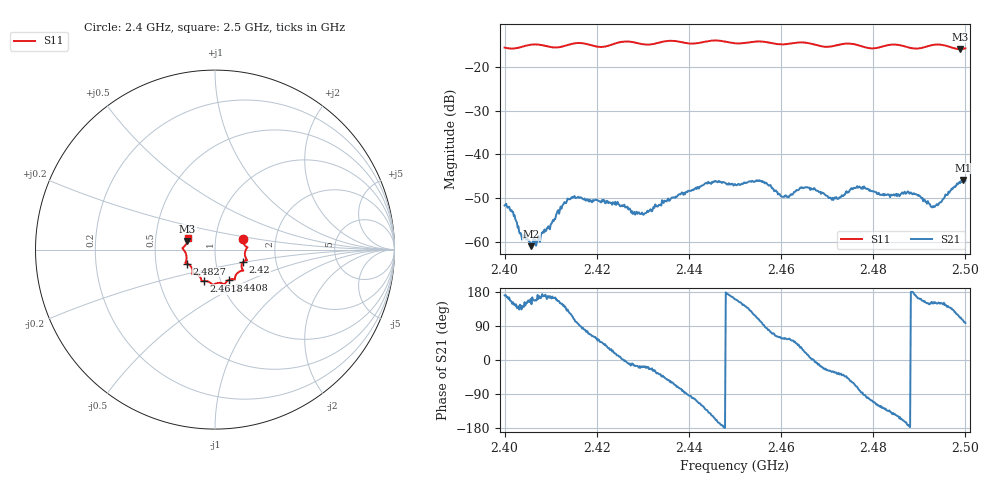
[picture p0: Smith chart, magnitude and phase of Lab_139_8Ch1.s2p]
# Hz S RI R 50
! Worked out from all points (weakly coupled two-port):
!   601 points, 2.4 GHz to 2.5 GHz, reference 50 ohm
!   highest |S21| = -45.86 dB at 2.4995 GHz (marker M1); lowest = -61.1 dB at 2.4058 GHz (marker M2)
!   lowest |S11| = -15.9 dB at 2.4988 GHz (marker M3), VSWR 1.38, Z = 36.5 + j3.4 ohm
!   |S11| at or under -10 dB: start of sweep to end of sweep
!   S12 and S22 are empty: the file has one direction only
!   S11 on the Smith chart (normalised r, x): 2.4 GHz: 1.35, +0.17; 2.42 GHz: 1.36, -0.19; 2.4408 GHz: 1.10, -0.38; 2.4618 GHz: 0.84, -0.30; 2.4827 GHz: 0.72, -0.12; 2.5 GHz: 0.73, +0.09
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2.4e9  0.1552 0.0616  -0.00256 0.000433  0 0  0 0
2.403667e9  0.1689 0.0206  -0.000787 0.000835  0 0  0 0
2.405833e9  0.1803 0.013  -0.000745 0.00048  0 0  0 0
2.413333e9  0.1709 -0.045  -0.00195 0.00195  0 0  0 0
2.416667e9  0.1786 -0.059  0.000172 0.00318  0 0  0 0
2.42e9  0.1568 -0.0692  0.00164 0.0025  0 0  0 0
2.429833e9  0.1362 -0.1223  0.00206 -0.000626  0 0  0 0
2.433333e9  0.1119 -0.1526  0.00208 -0.00148  0 0  0 0
2.440833e9  0.078 -0.1686  -0.000679 -0.00386  0 0  0 0
2.45e9  0.0273 -0.1852  -0.00428 0.00156  0 0  0 0
2.4555e9  -0.0123 -0.1963  -0.00104 0.00484  0 0  0 0
2.461833e9  -0.0609 -0.175  0.00184 0.00277  0 0  0 0
2.466667e9  -0.0763 -0.1681  0.00396 8.31e-05  0 0  0 0
2.470833e9  -0.1037 -0.1376  0.0027 -0.00157  0 0  0 0
2.476667e9  -0.125 -0.1272  0.00112 -0.00399  0 0  0 0
2.482667e9  -0.1577 -0.0776  -0.00212 -0.0027  0 0  0 0
2.483333e9  -0.1617 -0.0764  -0.00245 -0.00247  0 0  0 0
2.487833e9  -0.1588 -0.0515  -0.00353 -0.000305  0 0  0 0
2.493e9  -0.1794 0.00424  -0.00219 0.00133  0 0  0 0
2.498833e9  -0.1542 0.0454  -0.00173 0.00433  0 0  0 0
2.4995e9  -0.1518 0.0553  -0.0013 0.00493  0 0  0 0
2.5e9  -0.1514 0.0626  -0.000663 0.00495  0 0  0 0
